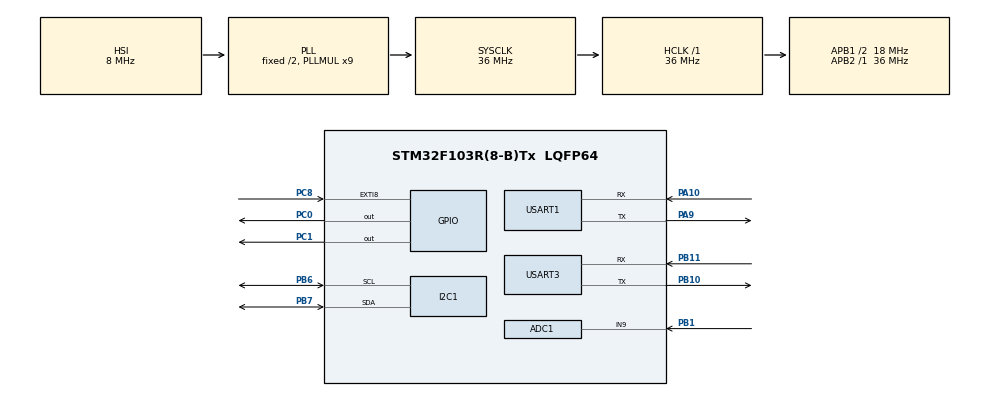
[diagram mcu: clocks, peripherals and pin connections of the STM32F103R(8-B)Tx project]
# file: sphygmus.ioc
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ADC1.Channel-2\#ChannelRegularConversion=ADC_CHANNEL_9
ADC1.NbrOfConversionFlag=1
ADC1.Rank-2\#ChannelRegularConversion=1
ADC1.SamplingTime-2\#ChannelRegularConversion=ADC_SAMPLETIME_1CYCLE_5
ADC1.master=1
Mcu.Family=STM32F1
Mcu.Name=STM32F103R(8-B)Tx
Mcu.Package=LQFP64
NVIC.ADC1_2_IRQn=true\:0\:0\:true\:true\:true\:1\:true\:true\:true
NVIC.EXTI9_5_IRQn=true\:4\:0\:true\:false\:true\:true\:true\:true
NVIC.I2C1_EV_IRQn=true\:0\:0\:false\:false\:true\:true\:true\:true
NVIC.PriorityGroup=NVIC_PRIORITYGROUP_4
NVIC.TIM3_IRQn=true\:6\:0\:true\:false\:true\:true\:true\:true
PA10.Mode=Asynchronous
PA10.Signal=USART1_RX
PA13.Mode=Serial_Wire
PA13.Signal=SYS_JTMS-SWDIO
PA14.Mode=Serial_Wire
PA14.Signal=SYS_JTCK-SWCLK
PA9.Mode=Asynchronous
PA9.Signal=USART1_TX
PB1.Signal=ADCx_IN9
PB10.Mode=Asynchronous
PB10.Signal=USART3_TX
PB11.Mode=Asynchronous
PB11.Signal=USART3_RX
PB6.Mode=I2C
PB6.Signal=I2C1_SCL
PB7.Mode=I2C
PB7.Signal=I2C1_SDA
PC0.PinState=GPIO_PIN_SET
PC0.Signal=GPIO_Output
PC1.PinState=GPIO_PIN_SET
PC1.Signal=GPIO_Output
PC8.Signal=GPXTI8
ProjectManager.HeapSize=0x200
ProjectManager.StackSize=0x400
ProjectManager.TargetToolchain=MDK-ARM V5
RCC.ADCPresc=RCC_ADCPCLK2_DIV4
RCC.AHBFreq_Value=36000000
RCC.APB1CLKDivider=RCC_HCLK_DIV2
RCC.APB1Freq_Value=18000000
RCC.APB1TimFreq_Value=36000000
RCC.APB2Freq_Value=36000000
RCC.APB2TimFreq_Value=36000000
RCC.HCLKFreq_Value=36000000
RCC.PLLMUL=RCC_PLL_MUL9
RCC.SYSCLKFreq_VALUE=36000000
RCC.SYSCLKSource=RCC_SYSCLKSOURCE_PLLCLK
RCC.USBFreq_Value=36000000
SH.ADCx_IN9.0=ADC1_IN9,IN9
TIM3.AutoReloadPreload=TIM_AUTORELOAD_PRELOAD_ENABLE
TIM3.Period=9
TIM3.Prescaler=35
USART1.VirtualMode=VM_ASYNC
USART3.VirtualMode=VM_ASYNC
VP_TIM3_VS_ClockSourceINT.Mode=Internal
board=custom

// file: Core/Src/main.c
/* USER CODE BEGIN Header */
/**
 ******************************************************************************
 * @file           : main.c
 * @brief          : Main program body
 ******************************************************************************
 * @attention
 *
 * Copyright (c) 2023 STMicroelectronics.
 * All rights reserved.
 *
 * This software is licensed under terms that can be found in the LICENSE file
 * in the root directory of this software component.
 * If no LICENSE file comes with this software, it is provided AS-IS.
 *
 ******************************************************************************
 */
/* USER CODE END Header */
#include "main.h"
#include "adc.h"
#include "i2c.h"
#include "tim.h"
#include "usart.h"
#include "gpio.h"

/* USER CODE BEGIN Includes */
#include <stdio.h>
/* USER CODE END Includes */

/* USER CODE BEGIN PD */
#define LOW 1000
#define HIGH 3000
#define LISTSIZE 10
#define MAXTIME 100000
#define MAXSPHYFMUS 150
#define MINSPHYFMUS 50
/* USER CODE END PD */

/* USER CODE BEGIN PV */
uint32_t time;                      // 当前时间
uint32_t l_time;                    // 上个时间
uint16_t adc_value;                 // adc采样值
uint16_t last_value;                // 上个adc采样值
uint32_t delta_time_list[LISTSIZE]; // 脉搏间的时间间隔列表
int alarm;
/* USER CODE END PV */

void SystemClock_Config(void);
static void MX_NVIC_Init(void);

/* USER CODE BEGIN 0 */

// 串口输出
int fputc(int ch, FILE *f)
{
  HAL_UART_Transmit(&huart1, (uint8_t *)&ch, 1, 10);
  return ch;
}

// adc采样
void adc_sample()
{
  HAL_ADC_Start(&hadc1);
  HAL_ADC_PollForConversion(&hadc1, 10);
}

// 检测上升沿
int check_posiedge()
{
  if (adc_value > HIGH && last_value < HIGH)
    return 1;
  return 0;
}

// 检测下降沿
int check_negedge()
{
  if (adc_value < HIGH && last_value > HIGH)
    return 1;
  return 0;
}

// 求时间间隔平均值
double average()
{
  uint32_t sum = 0;
  for (uint8_t i = 0; i < LISTSIZE; i++)
  {
    sum += delta_time_list[i];
  }
  return (float)sum / LISTSIZE;
}

// 向队列中添加新的时间间隔
void add_delta_time()
{
  uint32_t delta_time;
  if (time < l_time)
  {
    delta_time = MAXTIME - l_time + time;
  }
  else
  {
    delta_time = time - l_time;
  }

  for (int i = 0; i < LISTSIZE - 1; i++)
  {
    delta_time_list[i] = delta_time_list[i + 1];
  }
  delta_time_list[LISTSIZE - 1] = delta_time;
}

// 计算心率
double get_sphygmus()
{
  double avg_time = average();
  double sphygmus = (double)MAXTIME / avg_time * 60;
  alarm = (sphygmus > MAXSPHYFMUS || sphygmus < MINSPHYFMUS);

  return sphygmus;
}
/* USER CODE END 0 */

int main(void)
{

  /* MCU Configuration--------------------------------------------------------*/

  /* Reset of all peripherals, Initializes the Flash interface and the Systick. */
  HAL_Init();

  /* Configure the system clock */
  SystemClock_Config();

  /* Initialize all configured peripherals */
  MX_GPIO_Init();
  MX_USART1_UART_Init();
  MX_ADC1_Init();
  MX_TIM3_Init();
  MX_USART3_UART_Init();
  MX_I2C1_Init();

  /* Initialize interrupts */
  MX_NVIC_Init();
  /* USER CODE BEGIN 2 */
  HAL_ADC_Start_IT(&hadc1);
  HAL_TIM_Base_Start_IT(&htim3);
  HAL_ADCEx_Calibration_Start(&hadc1);
  /* USER CODE END 2 */

  /* Infinite loop */
  while (1)
  {

    /* USER CODE BEGIN 3 */
    HAL_ADC_Start_IT(&hadc1);
    printf("%f\r\n", get_sphygmus());

    HAL_Delay(100);
  }
  /* USER CODE END 3 */
}

void SystemClock_Config(void)
{
  RCC_OscInitTypeDef RCC_OscInitStruct = {0};
  RCC_ClkInitTypeDef RCC_ClkInitStruct = {0};
  RCC_PeriphCLKInitTypeDef PeriphClkInit = {0};

  /** Initializes the RCC Oscillators according to the specified parameters
   * in the RCC_OscInitTypeDef structure.
   */
  RCC_OscInitStruct.OscillatorType = RCC_OSCILLATORTYPE_HSI;
  RCC_OscInitStruct.HSIState = RCC_HSI_ON;
  RCC_OscInitStruct.HSICalibrationValue = RCC_HSICALIBRATION_DEFAULT;
  RCC_OscInitStruct.PLL.PLLState = RCC_PLL_ON;
  RCC_OscInitStruct.PLL.PLLSource = RCC_PLLSOURCE_HSI_DIV2;
  RCC_OscInitStruct.PLL.PLLMUL = RCC_PLL_MUL9;
  if (HAL_RCC_OscConfig(&RCC_OscInitStruct) != HAL_OK)
  {
    Error_Handler();
  }

  /** Initializes the CPU, AHB and APB buses clocks
   */
  RCC_ClkInitStruct.ClockType = RCC_CLOCKTYPE_HCLK | RCC_CLOCKTYPE_SYSCLK | RCC_CLOCKTYPE_PCLK1 | RCC_CLOCKTYPE_PCLK2;
  RCC_ClkInitStruct.SYSCLKSource = RCC_SYSCLKSOURCE_PLLCLK;
  RCC_ClkInitStruct.AHBCLKDivider = RCC_SYSCLK_DIV1;
  RCC_ClkInitStruct.APB1CLKDivider = RCC_HCLK_DIV2;
  RCC_ClkInitStruct.APB2CLKDivider = RCC_HCLK_DIV1;

  if (HAL_RCC_ClockConfig(&RCC_ClkInitStruct, FLASH_LATENCY_1) != HAL_OK)
  {
    Error_Handler();
  }
  PeriphClkInit.PeriphClockSelection = RCC_PERIPHCLK_ADC;
  PeriphClkInit.AdcClockSelection = RCC_ADCPCLK2_DIV4;
  if (HAL_RCCEx_PeriphCLKConfig(&PeriphClkInit) != HAL_OK)
  {
    Error_Handler();
  }
}

/**
 * @brief NVIC Configuration.
 * @retval None
 */
static void MX_NVIC_Init(void)
{
  /* ADC1_2_IRQn interrupt configuration */
  HAL_NVIC_SetPriority(ADC1_2_IRQn, 0, 0);
  HAL_NVIC_EnableIRQ(ADC1_2_IRQn);
}

/* USER CODE BEGIN 4 */
// adc中断
void HAL_ADC_ConvCpltCallback(ADC_HandleTypeDef *hadc)
{
  if (check_posiedge())
  {
    HAL_GPIO_WritePin(GPIOC, GPIO_PIN_0, GPIO_PIN_RESET);
    HAL_GPIO_WritePin(GPIOC, GPIO_PIN_1, GPIO_PIN_SET);
  }
  else if (check_negedge())
  {
    HAL_GPIO_WritePin(GPIOC, GPIO_PIN_0, GPIO_PIN_SET);
    HAL_GPIO_WritePin(GPIOC, GPIO_PIN_1, GPIO_PIN_RESET);
  }
  last_value = adc_value;
  adc_value = HAL_ADC_GetValue(&hadc1);
}

// 时钟中断
void HAL_TIM_PeriodElapsedCallback(TIM_HandleTypeDef *htim)
{
  time++;
  if (time > MAXTIME)
  {
    HAL_GPIO_TogglePin(GPIOC, GPIO_PIN_0);
    time = 0;
  }
}

// 外部中断
void HAL_GPIO_EXTI_Callback(uint16_t GPIO_Pin)
{
  if ((GPIO_Pin & GPIO_PIN_8))
  {
    add_delta_time();
    l_time = time;
  }
}
/* USER CODE END 4 */

void Error_Handler(void)
{
  __disable_irq();
  while (1)
  {
  }
}
